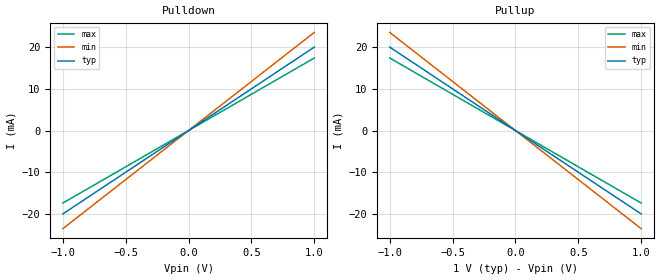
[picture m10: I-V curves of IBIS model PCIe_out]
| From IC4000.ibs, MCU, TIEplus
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[Model] PCIe_out
Model_type  Output
Polarity Non-Inverting
Vmeas =   0.5
| variable   typ   min   max
C_comp   0.0pF   0.0pF   0.0pF
[Temperature Range]   20   20   20
[Voltage range]   1.0   1.0   1.0
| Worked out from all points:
|   slope of the pulldown table from 0 to 0.15 V, typ, clamps not added: 50 ohm
|   slope of the pullup table from 0 to 0.15 V, typ, clamps not added: 50 ohm
[Pulldown]
|   Voltage   I(typ)   I(min)   I(max)
|   100 Ohm   85 Ohm   115 Ohm
-1V       -20mA      -23.53mA   -17.39mA
0V        0A         0A         0A
1V        20mA       23.53mA    17.39mA
[Pullup]
|   Voltage   I(typ)   I(min)   I(max)
-1V       20mA       23.53mA    17.39mA
0V        0A         0A         0A
1V        -20mA      -23.53mA   -17.39mA
[Ramp]
| variable   typ   min   max
dV/dt_r   1.00/0.05E-09   1.00/0.05E-09   1.00/0.05E-09
dV/dt_f   1.00/0.05E-09   1.00/0.05E-09   1.00/0.05E-09
R_load = 50
| End [Model] PCIe_out
